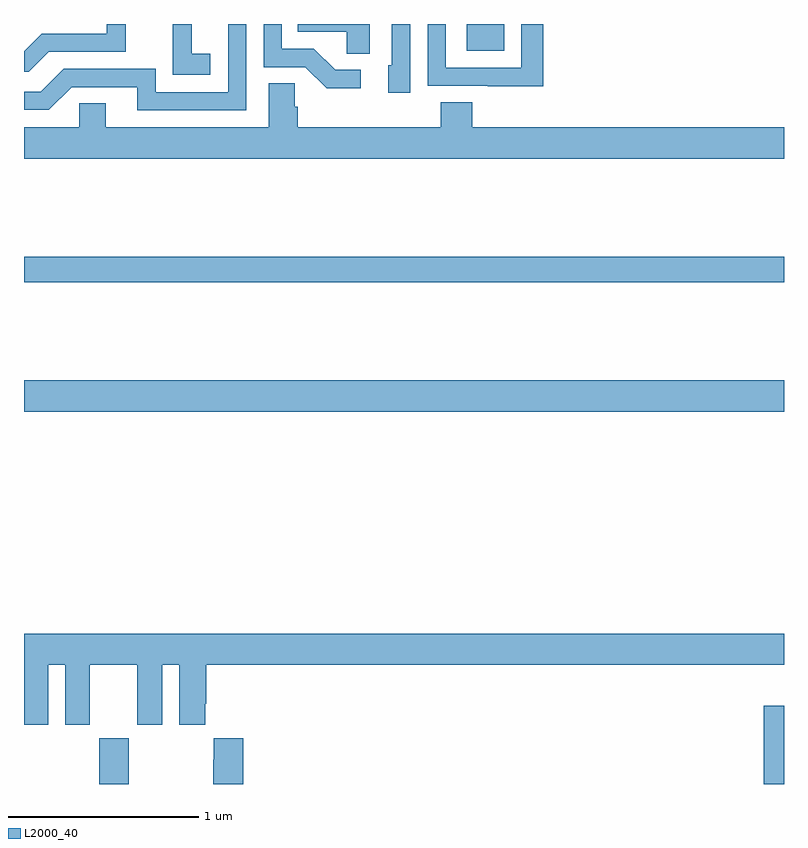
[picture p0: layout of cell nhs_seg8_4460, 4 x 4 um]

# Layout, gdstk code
import gdstk
lib = gdstk.Library(unit=1e-6, precision=1e-09)
def R(c, l, rs):  # rectangles x0, y0, x1, y1
    for r in rs: c.add(gdstk.rectangle(r[:2], r[2:], *l))
def P(c, l, *ps):  # polygons
    for p in ps: c.add(gdstk.Polygon(p, *l))
L2000_40 = (2000, 40)

nhs_seg8_4460 = lib.new_cell('nhs_seg8_4460')
R(nhs_seg8_4460, L2000_40, [(383.395,1087.9,383.55,1088.14), (386.893,1087.9,387,1088.312), (383,1089.86,387,1090.024), (383,1090.54,387,1090.676), (385.331,1091.759,385.528,1091.9)])
P(nhs_seg8_4460, L2000_40, [(384.82,1091.9),(384.442,1091.9),(384.442,1091.858),(384.699,1091.858),(384.699,1091.743),(384.82,1091.743)],
  [(384.772,1091.658),(384.637,1091.658),(384.526,1091.769),(384.357,1091.769),(384.357,1091.9),(384.261,1091.9),(384.261,1091.673),(384.48,1091.673),(384.593,1091.561),(384.772,1091.561)],
  [(383.98,1091.743),(383.882,1091.743),(383.882,1091.9),(383.783,1091.9),(383.783,1091.839),(383.782,1091.839),(383.782,1091.633),(383.98,1091.633)],
  [(385.733,1091.9),(385.617,1091.9),(385.617,1091.67),(385.221,1091.67),(385.221,1091.9),(385.125,1091.9),(385.125,1091.574),(385.441,1091.574),(385.441,1091.573),(385.733,1091.573)],
  [(383.131,1091.754),(383.535,1091.754),(383.535,1091.9),(383.436,1091.9),(383.436,1091.85),(383.094,1091.85),(383,1091.756),(383,1091.649),(383.026,1091.649)],
  [(385.032,1091.9),(384.936,1091.9),(384.936,1091.682),(384.917,1091.682),(384.917,1091.538),(385.032,1091.538)],
  [(384.171,1091.9),(384.075,1091.9),(384.075,1091.541),(383.694,1091.541),(383.694,1091.664),(383.208,1091.664),(383.088,1091.544),(383,1091.544),(383,1091.448),(383.13,1091.448),(383.25,1091.568),(383.597,1091.568),(383.597,1091.445),(384.171,1091.445)],
  [(383.292,1091.483),(383.292,1091.356),(383,1091.356),(383,1091.192),(387,1091.192),(387,1091.356),(385.358,1091.356),(385.358,1091.489),(385.193,1091.489),(385.193,1091.356),(384.44,1091.356),(384.44,1091.465),(384.426,1091.465),(384.426,1091.588),(384.287,1091.588),(384.287,1091.356),(383.431,1091.356),(383.431,1091.483)],
  [(383.128,1088.528),(383.216,1088.528),(383.216,1088.211),(383.347,1088.211),(383.347,1088.528),(383.597,1088.528),(383.597,1088.211),(383.728,1088.211),(383.728,1088.528),(383.816,1088.528),(383.816,1088.211),(383.953,1088.211),(383.953,1088.323),(383.96,1088.323),(383.96,1088.528),(387,1088.528),(387,1088.692),(383,1088.692),(383,1088.211),(383.128,1088.211)],
  [(384.155,1088.14),(383.999,1088.14),(383.999,1088.027),(383.995,1088.027),(383.995,1087.9),(384.155,1087.9)])

lib.write_gds('nhs_seg8_4460.gds')
